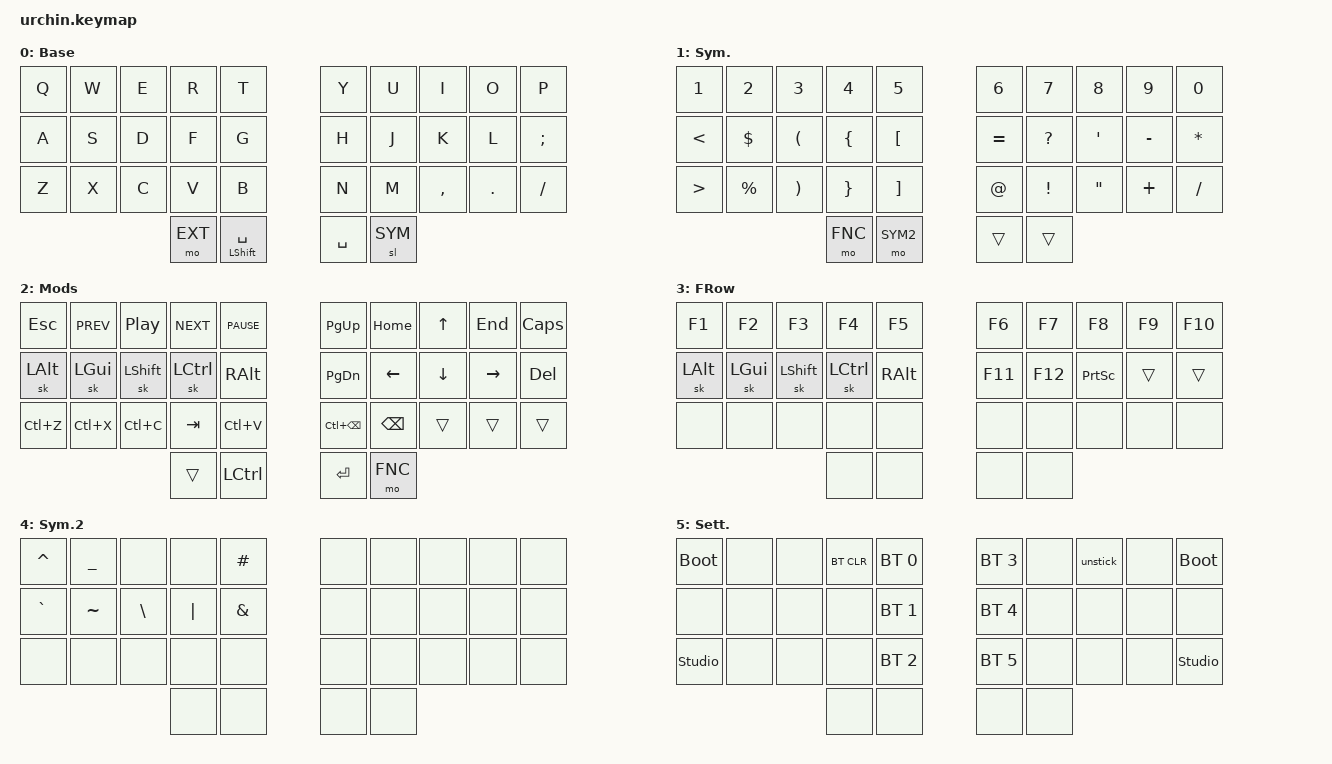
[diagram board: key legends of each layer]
/*
 * Copyright (c) 2020 duckyb
 *
 * SPDX-License-Identifier: MIT
 */

#include <behaviors.dtsi>
#include <dt-bindings/zmk/keys.h>
#include <dt-bindings/zmk/bt.h>
#include <dt-bindings/zmk/outputs.h>

// Layer definitions
#define BASE 0
#define SYM 1
#define EXT 2
#define FNC 3
#define SYM2 4
#define SETTINGS 5
// -----------------

&sk {
	// don't release mods on other mods presses
	ignore-modifiers;
};


/ {
	behaviors {
		// Enables holding the first mod-tap key
		// by performing a tap-release-hold sequence.
		// To use it: "&qt KEYCODE1 KEYCODE2"
		qt: quick_tap {
			compatible = "zmk,behavior-hold-tap";
			label = "QUICK_TAP";
			#binding-cells = <2>;
			flavor = "hold-preferred";
			tapping-term-ms = <200>;
			quick-tap-ms = <200>;
			bindings = <&kp>, <&kp>;
		};
	};

	macros {
		// sometimes my device thinks a modifier is being held down
		// pressing all modifiers fixes it.
		unstick: unstick {
			label = "ZM_unstick";
			compatible = "zmk,behavior-macro";
			#binding-cells = <0>;
			bindings = <&kp LSHIFT &kp RSHIFT &kp LCTRL &kp RCTRL &kp LALT &kp RALT &kp LGUI &kp RGUI>;
		};
	};

	combos {
		compatible = "zmk,combos";
		// internal-left & external-right thumb keys
		combo_sym2 {
			timeout-ms = <200>;
			key-positions = <31 33>;
			bindings = <&mo SYM2>;
		};
		// both left thumb keys
		combo_settings {
			timeout-ms = <200>;
			key-positions = <30 31>;
			bindings = <&mo SETTINGS>;
		};
		// left index & middle fingers (home-row)
		// hold control & space for Adobe workflow
		combo_ctrl_space {
			timeout-ms = <200>;
			key-positions = <12 13>;
			bindings = <&kp LC(SPACE)>;
			layers = <BASE>;
		};
	};

	keymap {
		compatible = "zmk,keymap";
		// Base alpha layer
		default_layer {
			label = "Base";
			bindings = <
			&kp Q &kp W &kp E &kp R &kp T           &kp Y &kp U  &kp I     &kp O   &kp P 
			&kp A &kp S &kp D &kp F &kp G           &kp H &kp J  &kp K     &kp L &kp SEMICOLON
			&kp Z &kp X &kp C &kp V &kp B           &kp N &kp M  &kp COMMA &kp DOT &kp SLASH
							&mo EXT &qt LSHIFT SPACE           &kp SPACE &sl SYM
			>;
		};

		// Numbers and high frequency symbols
		sym_layer {
			label = "Sym.";
			bindings = <
			&kp N1 &kp N2 &kp N3 &kp N4 &kp N5		                                    &kp N6 &kp N7 &kp N8 &kp N9 &kp N0
			&kp LT &kp DLLR &kp LPAR &kp LBRC &kp LBKT  &kp EQUAL &kp QMARK &kp SQT &kp MINUS &kp STAR
			&kp GT &kp PRCNT &kp RPAR &kp RBRC &kp RBKT 	&kp AT &kp EXCL &kp DQT &kp PLUS &kp FSLH
														&mo FNC  &mo SYM2       &trans &trans
			>;
		};

		// Main modifiers and arrow keys
		ext_layer {
			label = "Mods";
			bindings = <
			&kp ESC  &kp C_PREV &kp C_PP  &kp C_NEXT  &kp C_PAUSE    	&kp PG_UP  &kp HOME &kp UP &kp END &kp CAPS
			&sk LALT &sk LGUI  &sk LSHIFT  &sk LCTRL  &kp RALT 			&kp PG_DN &kp LEFT  &kp DOWN  &kp RIGHT   &kp DEL
			&kp LC(Z)  &kp LC(X) &kp LC(C) &kp TAB   &kp LC(V)          &kp LC(BSPC) &kp BSPC &trans &trans  &trans
																		&trans &kp LCTRL    &kp ENTER  &mo FNC 
			>;
		};

		// Function keys with modifiers
		fnc_layer {
			label = "FRow";
			bindings = <
			&kp F1 &kp F2 &kp F3 &kp F4 &kp F5                  &kp F6 &kp F7 &kp F8 &kp F9 &kp F10 
			&sk LALT &sk LGUI &sk LSHIFT &sk LCTRL &kp RALT     &kp F11 &kp F12  &kp PRINTSCREEN &trans &trans
			&none &none &none &none &none				          &none &none &none &none &none 
							  &none &none              &none &none  
			>;
		};

		// Low frequency symbols.
		symbols_2_layer {
			label = "Sym.2";
			bindings = <
			&kp CARET &kp UNDER &none &none &kp HASH         &none &none &none &none &none 
			&kp GRAVE &kp TILDE &kp BSLH &kp PIPE &kp AMPS         &none &none &none &none &none
			&none 			&none 			 &none &none &none				  &none &none &none &none &none
																	&none &none        	&none &none 
			>;
		};

		// Used to change the keyboard's settings.
		settings_layer {
				label = "Sett.";
				bindings = <
				&bootloader &none &none &bt BT_CLR &bt BT_SEL 0               &bt BT_SEL 3 &none &unstick &none &bootloader 
				&none &none &none &none      &bt BT_SEL 1 						  &bt BT_SEL 4 &none &none &none &none
				&studio_unlock &none &none &none      &bt BT_SEL 2               &bt BT_SEL 5 &none &none &none &studio_unlock
										&none &none                         &none &none 
				>;
		};
	};
};
